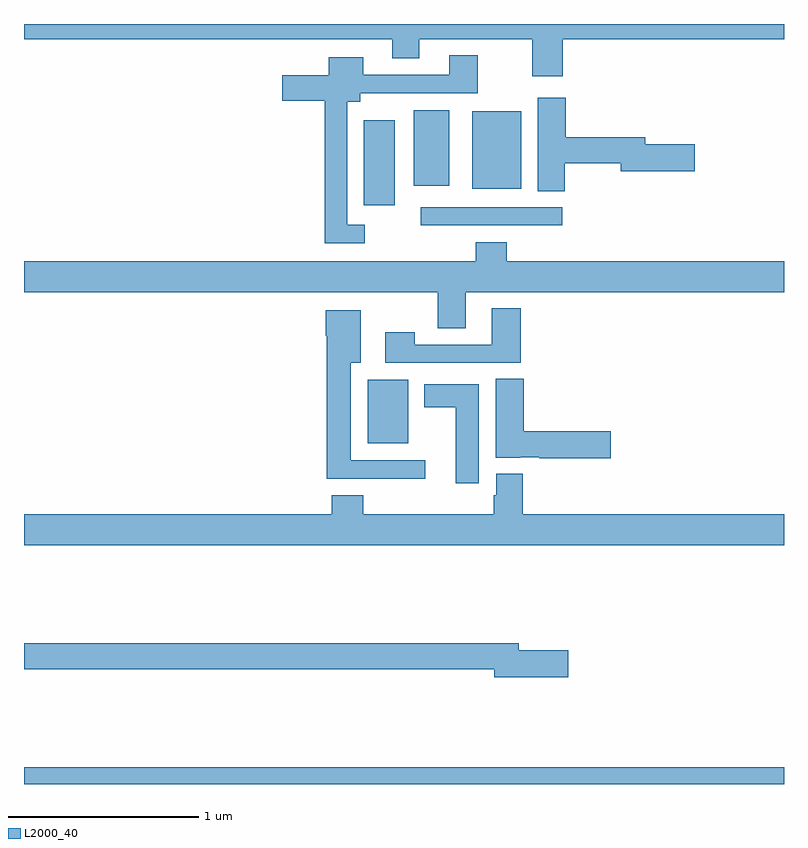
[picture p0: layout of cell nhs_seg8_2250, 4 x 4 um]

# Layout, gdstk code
import gdstk
lib = gdstk.Library(unit=1e-6, precision=1e-09)
def R(c, l, rs):  # rectangles x0, y0, x1, y1
    for r in rs: c.add(gdstk.rectangle(r[:2], r[2:], *l))
def P(c, l, *ps):  # polygons
    for p in ps: c.add(gdstk.Polygon(p, *l))
L2000_40 = (2000, 40)

nhs_seg8_2250 = lib.new_cell('nhs_seg8_2250')
R(nhs_seg8_2250, L2000_40, [(253,1125.9,257,1125.988), (254.81,1127.693,255.022,1128.028), (255.087,1128.84,255.832,1128.936), (254.789,1128.945,254.95,1129.393), (255.359,1129.034,255.616,1129.441), (255.05,1129.049,255.238,1129.447)])
P(nhs_seg8_2250, L2000_40, [(253,1129.82),(254.939,1129.82),(254.939,1129.721),(255.079,1129.721),(255.079,1129.82),(255.676,1129.82),(255.676,1129.626),(255.836,1129.626),(255.836,1129.82),(257,1129.82),(257,1129.9),(253,1129.9)],
  [(254.794,1128.843),(254.7,1128.843),(254.7,1129.49),(254.77,1129.49),(254.77,1129.536),(255.387,1129.536),(255.387,1129.735),(255.239,1129.735),(255.239,1129.632),(254.785,1129.632),(254.785,1129.726),(254.603,1129.726),(254.603,1129.63),(254.358,1129.63),(254.358,1129.496),(254.584,1129.496),(254.584,1128.747),(254.794,1128.747)],
  [(255.846,1129.168),(256.142,1129.168),(256.142,1129.126),(256.531,1129.126),(256.531,1129.268),(256.27,1129.268),(256.27,1129.304),(255.851,1129.304),(255.851,1129.513),(255.704,1129.513),(255.704,1129.021),(255.846,1129.021)],
  [(255.325,1128.488),(257,1128.488),(257,1128.652),(255.542,1128.652),(255.542,1128.751),(255.377,1128.751),(255.377,1128.652),(253,1128.652),(253,1128.488),(255.178,1128.488),(255.178,1128.298),(255.325,1128.298)],
  [(255.614,1128.403),(255.461,1128.403),(255.461,1128.213),(255.057,1128.213),(255.057,1128.277),(254.901,1128.277),(254.901,1128.117),(255.614,1128.117)],
  [(255.112,1127.604),(254.719,1127.604),(254.719,1128.116),(254.773,1128.116),(254.773,1128.394),(254.588,1128.394),(254.588,1128.258),(254.594,1128.258),(254.594,1127.507),(255.112,1127.507)],
  [(256.087,1127.756),(255.629,1127.756),(255.629,1128.032),(255.482,1128.032),(255.482,1127.618),(255.612,1127.618),(255.612,1127.621),(255.712,1127.621),(255.712,1127.614),(256.087,1127.614)],
  [(255.394,1128.004),(255.107,1128.004),(255.107,1127.882),(255.272,1127.882),(255.272,1127.484),(255.394,1127.484)],
  [(257,1127.32),(255.626,1127.32),(255.626,1127.533),(255.485,1127.533),(255.485,1127.421),(255.473,1127.421),(255.473,1127.32),(254.786,1127.32),(254.786,1127.419),(254.621,1127.419),(254.621,1127.32),(253,1127.32),(253,1127.156),(257,1127.156)],
  [(255.865,1126.604),(255.604,1126.604),(255.604,1126.64),(253,1126.64),(253,1126.504),(255.476,1126.504),(255.476,1126.462),(255.865,1126.462)])

lib.write_gds('nhs_seg8_2250.gds')
